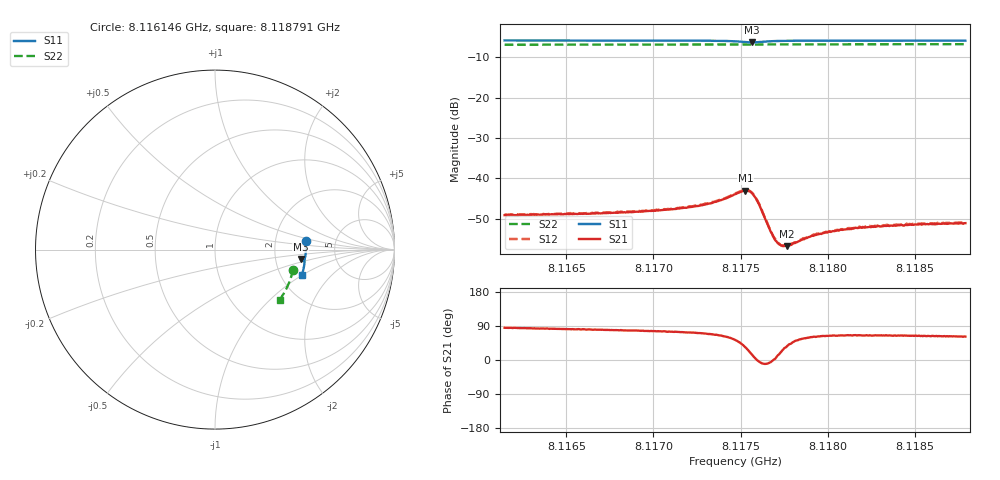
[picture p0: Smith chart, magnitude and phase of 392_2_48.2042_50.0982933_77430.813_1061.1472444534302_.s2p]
#  HZ  S  RI  R  50.00
! Rohde & Schwarz Vector Network Analyzer
! Rohde-Schwarz,ZNB20-2Port,1311601062101988,3.16
! Created: UTC 3/20/2024, 11:53:39 AM
! freq[Hz]  re:S11  im:S11  re:S21  im:S21  re:S12  im:S12  re:S22  im:S22
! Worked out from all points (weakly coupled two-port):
!   401 points, 8.116146 GHz to 8.118791 GHz, reference 50 ohm
!   highest |S21| = -43.00 dB at 8.117528 GHz (marker M1); lowest = -56.7 dB at 8.117766 GHz (marker M2)
!   lowest |S11| = -6.4 dB at 8.117567 GHz (marker M3), VSWR 2.84, Z = 139 - j19 ohm
!   |S11| at or under -10 dB: nowhere
!   |S22| runs from -7.0 to -6.8 dB; largest |S21 - S12| = 0.00017
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8.1161456e9  0.5049 0.0474  0.000302 0.0035  0.000376 0.00355  0.4352 -0.1109
8.1165887e9  0.5064 0.014  0.000586 0.00362  0.000644 0.00366  0.4277 -0.1408
8.1170317e9  0.5051 -0.0204  0.000987 0.00391  0.00105 0.00398  0.4181 -0.1701
8.1171772e9  0.5039 -0.0323  0.00125 0.00416  0.00131 0.00419  0.4146 -0.1799
8.117283e9  0.5022 -0.0417  0.0016 0.00439  0.00166 0.00449  0.4118 -0.1867
8.1173954e9  0.4981 -0.0528  0.00244 0.0049  0.0025 0.00499  0.4085 -0.194
8.1174681e9  0.4916 -0.06  0.00382 0.0051  0.00394 0.00518  0.4063 -0.1988
8.1175276e9  0.4809 -0.0605  0.0059 0.00391  0.00601 0.00395  0.4041 -0.2023
8.1175475e9  0.4776 -0.0571  0.00638 0.00281  0.00655 0.00281  0.4035 -0.2033
8.1175673e9  0.4768 -0.0525  0.00636 0.00149  0.00647 0.00146  0.4031 -0.2042
8.1175805e9  0.4778 -0.0493  0.00597 0.000653  0.00609 0.000621  0.4027 -0.2047
8.1176004e9  0.4813 -0.0462  0.00503 -0.000189  0.00516 -0.000289  0.4023 -0.2059
8.1176731e9  0.4938 -0.0497  0.00219 -0.000216  0.00218 -0.000246  0.4009 -0.2106
8.1176995e9  0.496 -0.0528  0.00171 0.000109  0.00178 0.000105  0.4001 -0.2124
8.117726e9  0.4973 -0.056  0.00145 0.000464  0.00146 0.000472  0.3994 -0.2141
8.1177458e9  0.498 -0.0584  0.00128 0.00069  0.00133 0.000686  0.3987 -0.2155
8.1177657e9  0.4984 -0.0607  0.00118 0.000857  0.00122 0.000874  0.3981 -0.2167
8.1179111e9  0.4986 -0.0749  0.000967 0.00171  0.000954 0.00172  0.3935 -0.2259
8.1179971e9  0.4978 -0.0822  0.000946 0.00192  0.000972 0.00194  0.3908 -0.2313
8.1181095e9  0.4964 -0.0914  0.000998 0.00214  0.00104 0.00214  0.3868 -0.2383
8.1183542e9  0.4926 -0.1102  0.00109 0.00234  0.00116 0.00239  0.3782 -0.2531
8.1187906e9  0.4841 -0.142  0.00133 0.00247  0.00139 0.00252  0.3614 -0.2787
